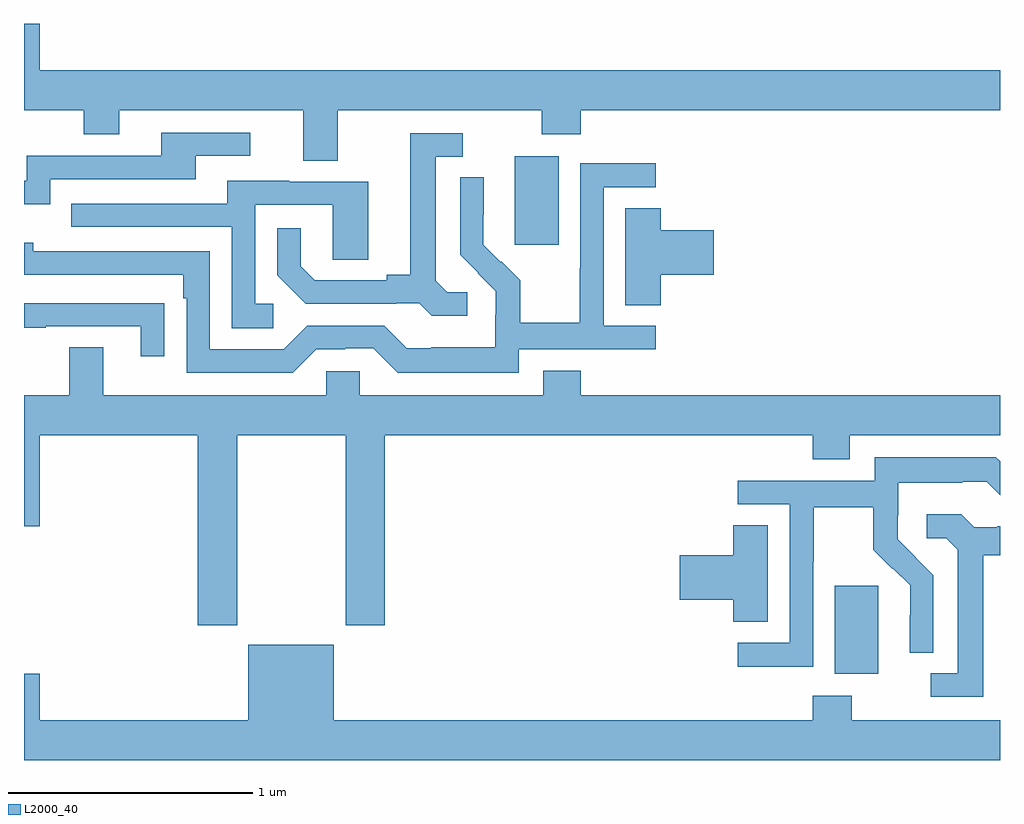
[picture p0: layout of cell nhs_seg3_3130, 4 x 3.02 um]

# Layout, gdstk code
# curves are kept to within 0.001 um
import gdstk
lib = gdstk.Library(unit=1e-6, precision=1e-09)
def R(c, l, rs):  # rectangles x0, y0, x1, y1
    for r in rs: c.add(gdstk.rectangle(r[:2], r[2:], *l))
def P(c, l, *ps):  # polygons
    for p in ps: c.add(gdstk.Polygon(p, *l))
L2000_40 = (2000, 40)

nhs_seg3_3130 = lib.new_cell('nhs_seg3_3130')
R(nhs_seg3_3130, L2000_40, [(276.323,721.25,276.502,721.611), (275.012,723.009,275.191,723.37)])
P(nhs_seg3_3130, L2000_40, [(274.285,723.56),(275.122,723.56),(275.122,723.461),(275.282,723.461),(275.282,723.56),(277,723.56),(277,723.724),(273.064,723.724),(273.064,723.913),(273,723.913),(273,723.56),(273.244,723.56),(273.244,723.461),(273.391,723.461),(273.391,723.56),(274.145,723.56),(274.145,723.352),(274.285,723.352)],
  [(273.108,723.276),(273.703,723.276),(273.703,723.372),(273.928,723.372),(273.928,723.468),(273.563,723.468),(273.563,723.372),(273.012,723.372),(273.012,723.27),(273,723.27),(273,723.173),(273.108,723.173)],
  [(274.816,722.814),(274.734,722.814),(274.687,722.861),(274.687,723.369),(274.798,723.369),(274.798,723.465),(274.583,723.465),(274.583,722.885),(274.487,722.885),(274.487,722.862),(274.192,722.862),(274.135,722.919),(274.135,723.076),(274.038,723.076),(274.038,722.882),(274.154,722.766),(274.526,722.766),(274.526,722.769),(274.62,722.769),(274.672,722.717),(274.816,722.717)],
  [(275.028,722.58),(275.59,722.58),(275.59,722.676),(275.376,722.676),(275.376,723.243),(275.59,723.243),(275.59,723.342),(275.28,723.342),(275.28,722.912),(275.278,722.912),(275.278,722.689),(275.033,722.689),(275.033,722.863),(274.956,722.94),(274.953,722.937),(274.883,723.008),(274.884,723.284),(274.788,723.284),(274.788,722.966),(274.934,722.818),(274.934,722.721),(274.932,722.721),(274.932,722.587),(274.669,722.587),(274.669,722.583),(274.569,722.583),(274.476,722.676),(274.161,722.676),(274.065,722.58),(273.762,722.58),(273.762,722.982),(273.038,722.982),(273.038,723.016),(273,723.016),(273,722.886),(273.653,722.886),(273.653,722.789),(273.666,722.789),(273.666,722.484),(274.101,722.484),(274.197,722.58),(274.316,722.58),(274.316,722.583),(274.431,722.583),(274.531,722.483),(275.028,722.483)],
  [(274.021,722.766),(273.948,722.766),(273.948,723.171),(274.266,723.171),(274.266,722.947),(274.411,722.947),(274.411,723.267),(274.087,723.267),(274.087,723.271),(273.833,723.271),(273.833,723.177),(273.193,723.177),(273.193,723.081),(273.852,723.081),(273.852,722.665),(274.021,722.665)],
  [(275.609,722.885),(275.827,722.885),(275.827,723.068),(275.609,723.068),(275.609,723.158),(275.465,723.158),(275.465,722.761),(275.609,722.761)],
  [(273.575,722.768),(273.473,722.768),(273.473,722.769),(273,722.769),(273,722.668),(273.089,722.668),(273.089,722.673),(273.479,722.673),(273.479,722.55),(273.575,722.55)],
  [(273.873,722.228),(274.318,722.228),(274.318,721.449),(274.478,721.449),(274.478,722.228),(276.233,722.228),(276.233,722.129),(276.385,722.129),(276.385,722.228),(277,722.228),(277,722.392),(275.282,722.392),(275.282,722.491),(275.129,722.491),(275.129,722.392),(274.377,722.392),(274.377,722.49),(274.239,722.49),(274.239,722.392),(273.325,722.392),(273.325,722.587),(273.185,722.587),(273.185,722.392),(273,722.392),(273,721.854),(273.064,721.854),(273.064,722.228),(273.713,722.228),(273.713,721.449),(273.873,721.449)],
  [(276.234,721.708),(276.237,721.708),(276.237,721.932),(276.481,721.932),(276.481,721.757),(276.558,721.68),(276.561,721.683),(276.632,721.613),(276.632,721.49),(276.63,721.49),(276.63,721.336),(276.726,721.336),(276.726,721.654),(276.58,721.802),(276.58,721.899),(276.582,721.899),(276.582,722.033),(276.845,722.033),(276.845,722.037),(276.945,722.037),(277,721.982),(277,722.12),(276.983,722.137),(276.486,722.137),(276.486,722.04),(275.925,722.04),(275.925,721.944),(276.138,721.944),(276.138,721.377),(275.925,721.377),(275.925,721.279),(276.234,721.279)],
  [(276.931,721.736),(277,721.736),(277,721.854),(276.988,721.854),(276.988,721.851),(276.894,721.851),(276.842,721.903),(276.699,721.903),(276.699,721.806),(276.78,721.806),(276.827,721.759),(276.827,721.251),(276.717,721.251),(276.717,721.155),(276.931,721.155)],
  [(276.049,721.859),(275.906,721.859),(275.906,721.736),(275.688,721.736),(275.688,721.553),(275.906,721.553),(275.906,721.462),(276.049,721.462)],
  [(277,721.06),(276.393,721.06),(276.393,721.159),(276.233,721.159),(276.233,721.06),(274.27,721.06),(274.27,721.369),(273.92,721.369),(273.92,721.06),(273.064,721.06),(273.064,721.249),(273,721.249),(273,720.896),(277,720.896)])

lib.write_gds('nhs_seg3_3130.gds')
